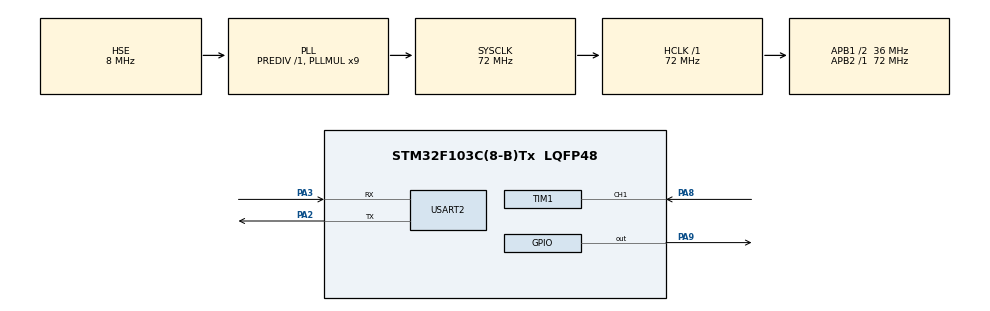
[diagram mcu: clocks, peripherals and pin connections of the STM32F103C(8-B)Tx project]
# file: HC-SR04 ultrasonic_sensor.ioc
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Mcu.Family=STM32F1
Mcu.Name=STM32F103C(8-B)Tx
Mcu.Package=LQFP48
NVIC.PriorityGroup=NVIC_PRIORITYGROUP_4
NVIC.TIM1_CC_IRQn=true\:0\:0\:false\:false\:true\:true\:true
NVIC.USART2_IRQn=true\:0\:0\:false\:false\:true\:true\:true
PA13.Mode=Serial_Wire
PA13.Signal=SYS_JTMS-SWDIO
PA14.Mode=Serial_Wire
PA14.Signal=SYS_JTCK-SWCLK
PA2.Mode=Asynchronous
PA2.Signal=USART2_TX
PA3.Mode=Asynchronous
PA3.Signal=USART2_RX
PA8.Signal=S_TIM1_CH1
PA9.Signal=GPIO_Output
PD0-OSC_IN.Mode=HSE-External-Oscillator
PD0-OSC_IN.Signal=RCC_OSC_IN
PD1-OSC_OUT.Mode=HSE-External-Oscillator
PD1-OSC_OUT.Signal=RCC_OSC_OUT
ProjectManager.HeapSize=0x200
ProjectManager.StackSize=0x400
ProjectManager.TargetToolchain=STM32CubeIDE
RCC.AHBFreq_Value=72000000
RCC.APB1CLKDivider=RCC_HCLK_DIV2
RCC.APB1Freq_Value=36000000
RCC.APB1TimFreq_Value=72000000
RCC.APB2Freq_Value=72000000
RCC.APB2TimFreq_Value=72000000
RCC.HCLKFreq_Value=72000000
RCC.PLLMUL=RCC_PLL_MUL9
RCC.PLLSourceVirtual=RCC_PLLSOURCE_HSE
RCC.SYSCLKFreq_VALUE=72000000
RCC.SYSCLKSource=RCC_SYSCLKSOURCE_PLLCLK
RCC.USBFreq_Value=72000000
SH.S_TIM1_CH1.0=TIM1_CH1,Input_Capture1_from_TI1
TIM1.Channel-Input_Capture1_from_TI1=TIM_CHANNEL_1
TIM1.Prescaler=72-1
USART2.VirtualMode=VM_ASYNC
VP_TIM1_VS_ClockSourceINT.Mode=Internal
board=custom

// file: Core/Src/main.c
/* USER CODE BEGIN Header */
/**
  ******************************************************************************
  * @file           : main.c
  * @brief          : Main program body
  ******************************************************************************
  * @attention
  *
  * <h2><center>&copy; Copyright (c) 2021 STMicroelectronics.
  * All rights reserved.</center></h2>
  *
  * This software component is licensed by ST under BSD 3-Clause license,
  * the "License"; You may not use this file except in compliance with the
  * License. You may obtain a copy of the License at:
  *                        opensource.org/licenses/BSD-3-Clause
  *
  ******************************************************************************
  */
/* USER CODE END Header */
#include "main.h"

/* USER CODE BEGIN Includes */
#include "string.h"
/* USER CODE END Includes */

TIM_HandleTypeDef htim1;

UART_HandleTypeDef huart2;

void SystemClock_Config(void);
static void MX_GPIO_Init(void);
static void MX_USART2_UART_Init(void);
static void MX_TIM1_Init(void);

/* USER CODE BEGIN 0 */
void delay (uint16_t time){
	__HAL_TIM_SET_COUNTER(&htim1,0);
	while(__HAL_TIM_GET_COUNTER(&htim1)<time);
}
char buffer[50];
uint32_t IC_Val1 = 0;
uint32_t IC_Val2 = 0;
uint32_t Difference = 0;
uint8_t Is_First_Captured = 0;  // is the first value captured ?
uint32_t Distance  = 0;

#define TRIG_PIN GPIO_PIN_9
#define TRIG_PORT GPIOA
void HAL_TIM_IC_CaptureCallback(TIM_HandleTypeDef *htim)
{
	if (htim->Channel == HAL_TIM_ACTIVE_CHANNEL_1)  // if the interrupt source is channel1
	{
		if (Is_First_Captured==0) // if the first value is not captured
		{
			IC_Val1 = HAL_TIM_ReadCapturedValue(htim, TIM_CHANNEL_1); // read the first value
			Is_First_Captured = 1;  // set the first captured as true
			// Now change the polarity to falling edge
			__HAL_TIM_SET_CAPTUREPOLARITY(htim, TIM_CHANNEL_1, TIM_INPUTCHANNELPOLARITY_FALLING);
		}

		else if (Is_First_Captured==1)   // if the first is already captured
		{
			IC_Val2 = HAL_TIM_ReadCapturedValue(htim, TIM_CHANNEL_1);  // read second value
			__HAL_TIM_SET_COUNTER(htim, 0);  // reset the counter

			if (IC_Val2 > IC_Val1)
			{
				Difference = IC_Val2-IC_Val1;
			}

			else if (IC_Val1 > IC_Val2)
			{
				Difference = (0xffff - IC_Val1) + IC_Val2;
			}

			Distance = Difference * .034/2;
			Is_First_Captured = 0; // set it back to false

			// set polarity to rising edge
			__HAL_TIM_SET_CAPTUREPOLARITY(htim, TIM_CHANNEL_1, TIM_INPUTCHANNELPOLARITY_RISING);
			__HAL_TIM_DISABLE_IT(&htim1, TIM_IT_CC1);
		}
	}
}

void HCSR04_Read (void)
{
	HAL_GPIO_WritePin(TRIG_PORT, TRIG_PIN, GPIO_PIN_SET);  // pull the TRIG pin HIGH
	HAL_Delay(0.0001); // wait for 10 us
	HAL_GPIO_WritePin(TRIG_PORT, TRIG_PIN, GPIO_PIN_RESET);  // pull the TRIG pin low

	__HAL_TIM_ENABLE_IT(&htim1, TIM_IT_CC1);
}
/* USER CODE END 0 */

int main(void)
{

  /* MCU Configuration--------------------------------------------------------*/

  /* Reset of all peripherals, Initializes the Flash interface and the Systick. */
  HAL_Init();

  /* Configure the system clock */
  SystemClock_Config();

  /* Initialize all configured peripherals */
  MX_GPIO_Init();
  MX_USART2_UART_Init();
  MX_TIM1_Init();
  /* USER CODE BEGIN 2 */
 char hello[20]="hello world";
 HAL_TIM_IC_Start_IT(&htim1, TIM_CHANNEL_1);
  /* USER CODE END 2 */

  /* Infinite loop */
  while (1)
  {

    /* USER CODE BEGIN 3 */
	  HCSR04_Read();
	  sprintf(buffer,"distance=%02d %d cm \n",Distance,(Distance%10)+48);
	  HAL_UART_Transmit_IT(&huart2, buffer, sizeof(buffer));
	  HAL_Delay(200);
  }
  /* USER CODE END 3 */
}

void SystemClock_Config(void)
{
  RCC_OscInitTypeDef RCC_OscInitStruct = {0};
  RCC_ClkInitTypeDef RCC_ClkInitStruct = {0};

  /** Initializes the RCC Oscillators according to the specified parameters
  * in the RCC_OscInitTypeDef structure.
  */
  RCC_OscInitStruct.OscillatorType = RCC_OSCILLATORTYPE_HSE;
  RCC_OscInitStruct.HSEState = RCC_HSE_ON;
  RCC_OscInitStruct.HSEPredivValue = RCC_HSE_PREDIV_DIV1;
  RCC_OscInitStruct.HSIState = RCC_HSI_ON;
  RCC_OscInitStruct.PLL.PLLState = RCC_PLL_ON;
  RCC_OscInitStruct.PLL.PLLSource = RCC_PLLSOURCE_HSE;
  RCC_OscInitStruct.PLL.PLLMUL = RCC_PLL_MUL9;
  if (HAL_RCC_OscConfig(&RCC_OscInitStruct) != HAL_OK)
  {
    Error_Handler();
  }
  /** Initializes the CPU, AHB and APB buses clocks
  */
  RCC_ClkInitStruct.ClockType = RCC_CLOCKTYPE_HCLK|RCC_CLOCKTYPE_SYSCLK
                              |RCC_CLOCKTYPE_PCLK1|RCC_CLOCKTYPE_PCLK2;
  RCC_ClkInitStruct.SYSCLKSource = RCC_SYSCLKSOURCE_PLLCLK;
  RCC_ClkInitStruct.AHBCLKDivider = RCC_SYSCLK_DIV1;
  RCC_ClkInitStruct.APB1CLKDivider = RCC_HCLK_DIV2;
  RCC_ClkInitStruct.APB2CLKDivider = RCC_HCLK_DIV1;

  if (HAL_RCC_ClockConfig(&RCC_ClkInitStruct, FLASH_LATENCY_2) != HAL_OK)
  {
    Error_Handler();
  }
}

static void MX_TIM1_Init(void)
{

  TIM_ClockConfigTypeDef sClockSourceConfig = {0};
  TIM_MasterConfigTypeDef sMasterConfig = {0};
  TIM_IC_InitTypeDef sConfigIC = {0};

  htim1.Instance = TIM1;
  htim1.Init.Prescaler = 72-1;
  htim1.Init.CounterMode = TIM_COUNTERMODE_UP;
  htim1.Init.Period = 65535;
  htim1.Init.ClockDivision = TIM_CLOCKDIVISION_DIV1;
  htim1.Init.RepetitionCounter = 0;
  htim1.Init.AutoReloadPreload = TIM_AUTORELOAD_PRELOAD_DISABLE;
  if (HAL_TIM_Base_Init(&htim1) != HAL_OK)
  {
    Error_Handler();
  }
  sClockSourceConfig.ClockSource = TIM_CLOCKSOURCE_INTERNAL;
  if (HAL_TIM_ConfigClockSource(&htim1, &sClockSourceConfig) != HAL_OK)
  {
    Error_Handler();
  }
  if (HAL_TIM_IC_Init(&htim1) != HAL_OK)
  {
    Error_Handler();
  }
  sMasterConfig.MasterOutputTrigger = TIM_TRGO_RESET;
  sMasterConfig.MasterSlaveMode = TIM_MASTERSLAVEMODE_DISABLE;
  if (HAL_TIMEx_MasterConfigSynchronization(&htim1, &sMasterConfig) != HAL_OK)
  {
    Error_Handler();
  }
  sConfigIC.ICPolarity = TIM_INPUTCHANNELPOLARITY_RISING;
  sConfigIC.ICSelection = TIM_ICSELECTION_DIRECTTI;
  sConfigIC.ICPrescaler = TIM_ICPSC_DIV1;
  sConfigIC.ICFilter = 0;
  if (HAL_TIM_IC_ConfigChannel(&htim1, &sConfigIC, TIM_CHANNEL_1) != HAL_OK)
  {
    Error_Handler();
  }

}

static void MX_USART2_UART_Init(void)
{

  huart2.Instance = USART2;
  huart2.Init.BaudRate = 115200;
  huart2.Init.WordLength = UART_WORDLENGTH_8B;
  huart2.Init.StopBits = UART_STOPBITS_1;
  huart2.Init.Parity = UART_PARITY_NONE;
  huart2.Init.Mode = UART_MODE_TX_RX;
  huart2.Init.HwFlowCtl = UART_HWCONTROL_NONE;
  huart2.Init.OverSampling = UART_OVERSAMPLING_16;
  if (HAL_UART_Init(&huart2) != HAL_OK)
  {
    Error_Handler();
  }

}

static void MX_GPIO_Init(void)
{
  GPIO_InitTypeDef GPIO_InitStruct = {0};

  /* GPIO Ports Clock Enable */
  __HAL_RCC_GPIOD_CLK_ENABLE();
  __HAL_RCC_GPIOA_CLK_ENABLE();

  /*Configure GPIO pin Output Level */
  HAL_GPIO_WritePin(GPIOA, GPIO_PIN_9, GPIO_PIN_RESET);

  /*Configure GPIO pin : PA9 */
  GPIO_InitStruct.Pin = GPIO_PIN_9;
  GPIO_InitStruct.Mode = GPIO_MODE_OUTPUT_PP;
  GPIO_InitStruct.Pull = GPIO_NOPULL;
  GPIO_InitStruct.Speed = GPIO_SPEED_FREQ_LOW;
  HAL_GPIO_Init(GPIOA, &GPIO_InitStruct);

}

/* USER CODE BEGIN 4 */
 void HAL_UART_TxCpltCallback(UART_HandleTypeDef *huart){

 }
/* USER CODE END 4 */

void Error_Handler(void)
{
  __disable_irq();
  while (1)
  {
  }
}

/************************ (C) COPYRIGHT STMicroelectronics *****END OF FILE****/
